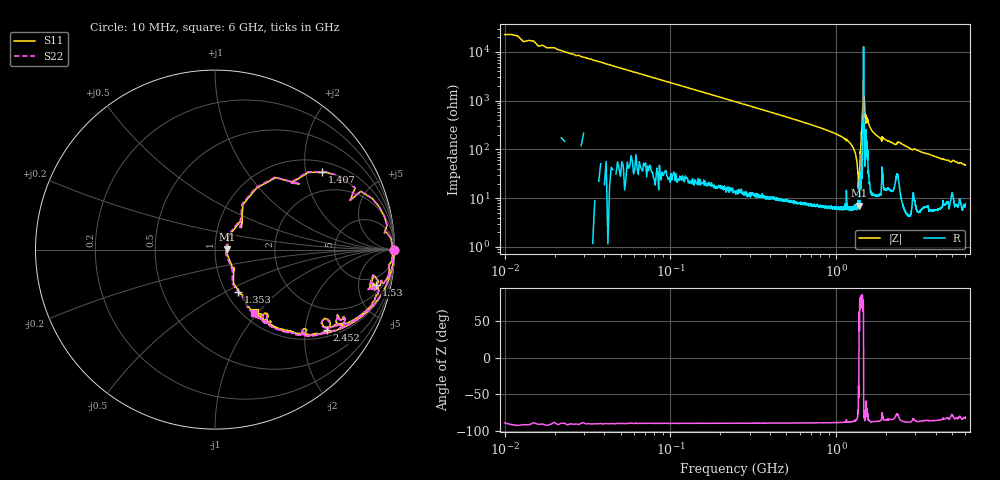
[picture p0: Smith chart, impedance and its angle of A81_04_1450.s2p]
!Agilent Technologies,N5242A,MY49421580,A.09.80.15
!Agilent N5242A: A.09.80.15
!Date: Wednesday, November 24, 2021 03:28:57
!Correction: S11(Full 2 Port(1,2))
!S21(Full 2 Port(1,2))
!S12(Full 2 Port(1,2))
!S22(Full 2 Port(1,2))
!S2P File: Measurements: S11, S21, S12, S22:
# Hz S  RI  R 50
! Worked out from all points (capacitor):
!   6001 points, 10 MHz to 6 GHz, reference 50 ohm
!   read as one part in series: C = 679 fF near 39.95 MHz
!   lowest |Z| = 7 ohm at 1.369 GHz (marker M1)
!   series resonance near 1.369 GHz, so ESL is about 20 nH
!   S11 on the Smith chart (normalised r, x): 10 MHz: open; 1.353 GHz: 1.14, -0.58; 1.407 GHz: 1.30, +2.47; 1.53 GHz: 3.12, -7.95; 2.452 GHz: 1.20, -2.63; 6 GHz: 1.14, -0.96
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1e7  0.9986 -0.00474  0.000111 0.00438  0.000295 0.00495  0.9959 -0.00401
5.193e7  0.9975 -0.0223  0.000729 0.0222  0.000616 0.0222  0.9963 -0.0223
8.687167e7  0.9965 -0.0375  0.00176 0.0369  0.00189 0.037  0.9954 -0.0377
2.386183e8  0.9867 -0.1011  0.0116 0.0999  0.0118 0.1  0.9866 -0.1013
5.241417e8  0.9462 -0.2149  0.0529 0.2128  0.0528 0.2127  0.9456 -0.2151
1.009332e9  0.7973 -0.3871  0.2016 0.3837  0.2019 0.384  0.7956 -0.3894
1.278882e9  0.4997 -0.4685  0.499 0.4647  0.4997 0.4646  0.4959 -0.4737
1.320812e9  0.3247 -0.4263  0.6741 0.4227  0.675 0.4225  0.3171 -0.4312
1.352758e9  0.1285 -0.2349  0.8692 0.2309  0.8695 0.23  0.1219 -0.236
1.368732e9  0.0662 0.00099  0.9322 -0.0056  0.9324 -0.00644  0.0596 0.00122
1.406668e9  0.5954 0.434  0.4014 -0.4377  0.4014 -0.4386  0.5926 0.4374
1.438615e9  0.9557 0.149  0.0415 -0.1528  0.0414 -0.1532  0.9557 0.1495
1.460578e9  0.9901 -0.0115  0.0075 0.00871  0.00748 0.00871  0.9904 -0.0129
1.480545e9  0.9713 -0.1202  0.0271 0.1173  0.027 0.1173  0.9706 -0.1225
1.530462e9  0.8973 -0.1982  0.1008 0.1926  0.1011 0.1931  0.8962 -0.1974
1.68121e9  0.8129 -0.3641  0.1856 0.3593  0.1856 0.36  0.8121 -0.3665
2.006667e9  0.6836 -0.4184  0.3142 0.413  0.3147 0.4134  0.6818 -0.4221
2.451923e9  0.6258 -0.4466  0.3694 0.4394  0.3701 0.4404  0.6235 -0.4499
3.005e9  0.4986 -0.4665  0.4975 0.4605  0.4982 0.4607  0.4946 -0.4706
4.004332e9  0.3433 -0.4365  0.6563 0.4306  0.6577 0.4302  0.3379 -0.441
5.001667e9  0.2951 -0.363  0.7019 0.3535  0.7034 0.3529  0.2888 -0.3672
6e9  0.2209 -0.349  0.7757 0.3347  0.7778 0.3339  0.2159 -0.3529
